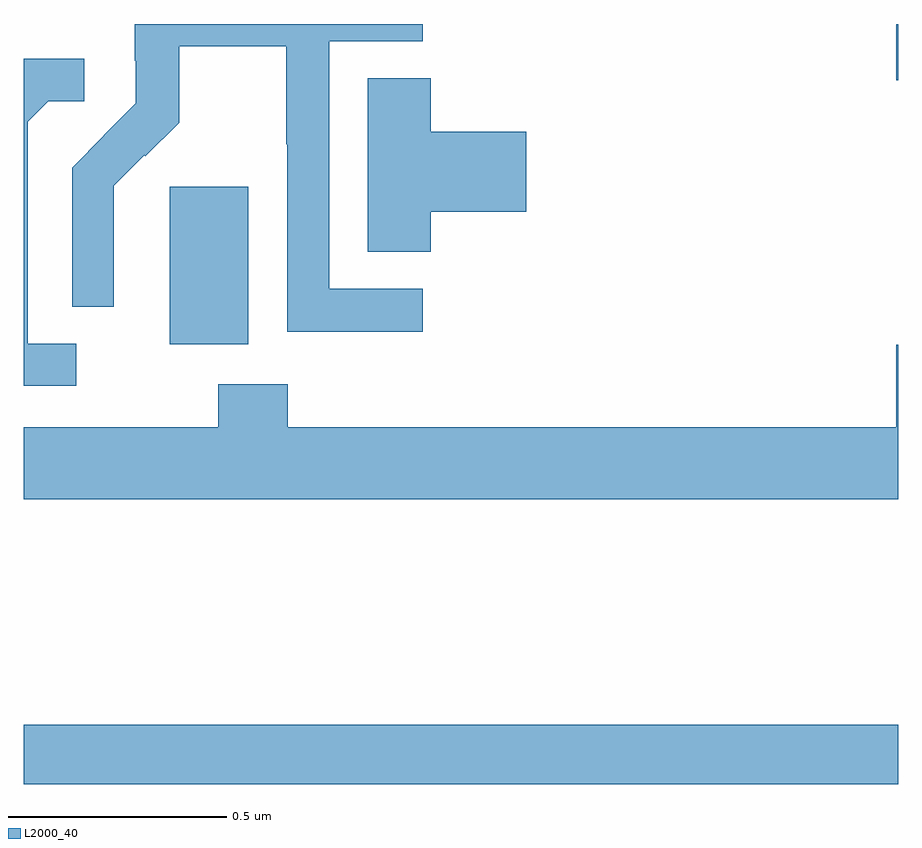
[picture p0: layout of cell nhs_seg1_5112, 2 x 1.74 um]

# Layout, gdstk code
import gdstk
lib = gdstk.Library(unit=1e-6, precision=1e-09)
def R(c, l, rs):  # rectangles x0, y0, x1, y1
    for r in rs: c.add(gdstk.rectangle(r[:2], r[2:], *l))
def P(c, l, *ps):  # polygons
    for p in ps: c.add(gdstk.Polygon(p, *l))
L2000_40 = (2000, 40)

nhs_seg1_5112 = lib.new_cell('nhs_seg1_5112')
R(nhs_seg1_5112, L2000_40, [(175,504.46,177,504.596), (175.334,505.466,175.513,505.827), (176.996,506.07,177,506.199)])
P(nhs_seg1_5112, L2000_40, [(175.912,505.593),(175.698,505.593),(175.698,506.16),(175.912,506.16),(175.912,506.199),(175.254,506.199),(175.254,506.115),(175.256,506.115),(175.256,506.018),(175.182,505.944),(175.183,505.943),(175.11,505.87),(175.11,505.552),(175.206,505.552),(175.206,505.706),(175.205,505.706),(175.205,505.829),(175.275,505.899),(175.278,505.896),(175.355,505.973),(175.355,506.148),(175.6,506.148),(175.6,505.924),(175.602,505.924),(175.602,505.495),(175.912,505.495)],
  [(175.12,505.467),(175.009,505.467),(175.009,505.975),(175.056,506.022),(175.138,506.022),(175.138,506.119),(175,506.119),(175,505.371),(175.12,505.371)],
  [(175.931,505.769),(176.149,505.769),(176.149,505.952),(175.931,505.952),(175.931,506.075),(175.787,506.075),(175.787,505.678),(175.931,505.678)],
  [(177,505.465),(176.996,505.465),(176.996,505.276),(175.604,505.276),(175.604,505.375),(175.444,505.375),(175.444,505.276),(175,505.276),(175,505.112),(177,505.112)])

lib.write_gds('nhs_seg1_5112.gds')
